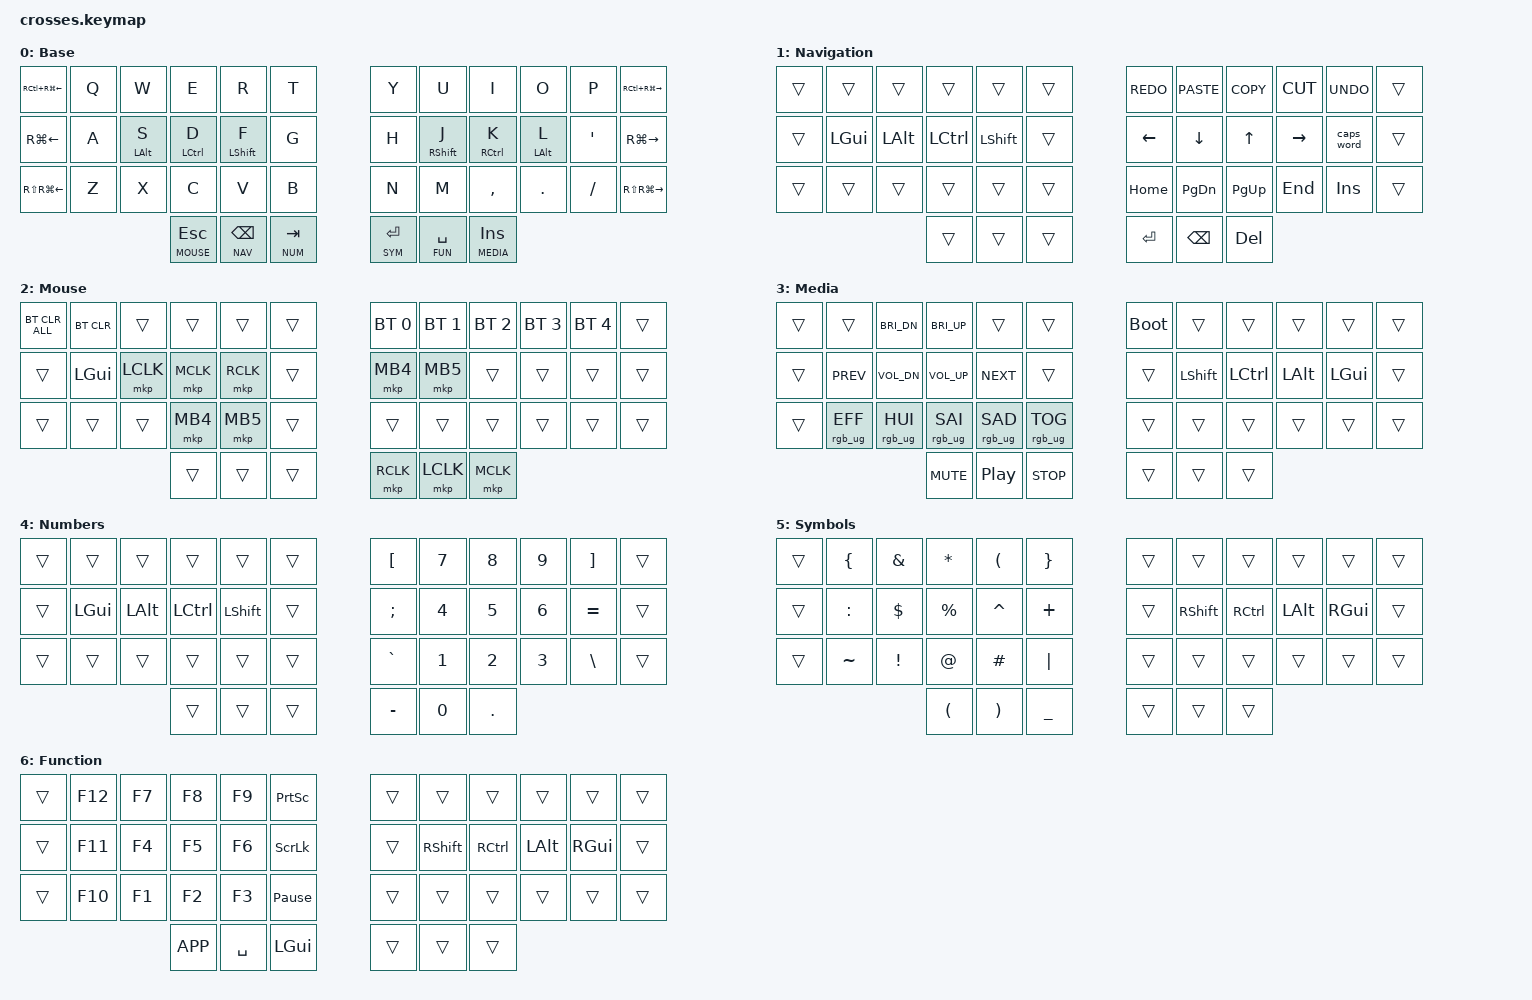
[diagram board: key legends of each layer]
#include <behaviors.dtsi>
#include <dt-bindings/zmk/bt.h>
#include <dt-bindings/zmk/keys.h>
#include <dt-bindings/zmk/pointing.h>
#include <dt-bindings/zmk/rgb.h>

#define BASE 0
#define NAV 1
#define MOUSE 2
#define MEDIA 3
#define NUM 4
#define SYM 5
#define FUN 6

&mt {
    tapping-term-ms = <200>;
    flavor = "tap-preferred";
    quick-tap-ms = <150>;
};

&lt {
    tapping-term-ms = <200>;
    flavor = "balanced";
    quick-tap-ms = <150>;
};

/ {
    behaviors {
        caps_word: caps_word {
            compatible = "zmk,behavior-caps-word";
            #binding-cells = <0>;
            continue-list = <UNDERSCORE MINUS BACKSPACE DELETE>;
        };
    };

    keymap {
        compatible = "zmk,keymap";

        base_layer {
            display-name = "Base";
            // ┌──────────┬──────────┬──────────┬──────────┬──────────┬──────────┐   ┌──────────┬──────────┬──────────┬──────────┬──────────┬──────────┐
            // │ Ctrl+Win←│    Q     │    W     │    E     │    R     │    T     │   │    Y     │    U     │    I     │    O     │    P     │Ctrl+Win→ │
            // ├──────────┼──────────┼──────────┼──────────┼──────────┼──────────┤   ├──────────┼──────────┼──────────┼──────────┼──────────┼──────────┤
            // │  Win+←   │    A     │  Alt/S   │  Ctrl/D  │  Shft/F  │    G     │   │    H     │  Shft/J  │  Ctrl/K  │  Alt/L   │    '     │  Win+→   │
            // ├──────────┼──────────┼──────────┼──────────┼──────────┼──────────┤   ├──────────┼──────────┼──────────┼──────────┼──────────┼──────────┤
            // │Shft+Win← │    Z     │    X     │    C     │    V     │    B     │   │    N     │    M     │    ,     │    .     │    /     │Shft+Win→ │
            // └──────────┴──────────┴──────────┼──────────┼──────────┼──────────┤   ├──────────┼──────────┼──────────┼──────────┴──────────┴──────────┘
            //                                  │Mouse/Esc │ Nav/Bspc │ Num/Tab  │   │ Sym/Ent  │ Fun/Spc  │Media/Ins │
            //                                  └──────────┴──────────┴──────────┘   └──────────┴──────────┴──────────┘
            bindings = <
&kp RC(RG(LEFT))  &kp Q       &kp W        &kp E        &kp R        &kp T            &kp Y        &kp U        &kp I        &kp O        &kp P          &kp RC(RG(RIGHT))
&kp RG(LEFT)      &kp A       &mt LALT S   &mt LCTRL D  &mt LSHFT F  &kp G            &kp H        &mt RSHFT J  &mt RCTRL K  &mt LALT L   &kp SQT        &kp RG(RIGHT)
&kp RS(RG(LEFT))  &kp Z       &kp X        &kp C        &kp V        &kp B            &kp N        &kp M        &kp COMMA    &kp DOT      &kp FSLH       &kp RS(RG(RIGHT))
                              &lt MOUSE ESC  &lt NAV BSPC  &lt NUM TAB              &lt SYM RET  &lt FUN SPACE  &lt MEDIA INS
            >;
        };

        nav_layer {
            display-name = "Navigation";
            bindings = <
&trans      &trans      &trans      &trans      &trans      &trans            &kp K_REDO   &kp K_PASTE  &kp K_COPY   &kp K_CUT    &kp K_UNDO   &trans
&trans      &kp LGUI   &kp LALT   &kp LCTRL  &kp LSHFT  &trans            &kp LEFT     &kp DOWN     &kp UP       &kp RIGHT    &caps_word   &trans
&trans      &trans      &trans      &trans      &trans      &trans            &kp HOME     &kp PG_DN    &kp PG_UP    &kp END      &kp INS      &trans
                                 &trans      &trans      &trans            &kp RET      &kp BSPC     &kp DEL
            >;
        };

        mouse_layer {
            display-name = "Mouse";
            bindings = <
&bt BT_CLR_ALL  &bt BT_CLR &trans       &trans      &trans      &trans            &bt BT_SEL 0 &bt BT_SEL 1 &bt BT_SEL 2 &bt BT_SEL 3 &bt BT_SEL 4 &trans
&trans      &kp LGUI   &mkp LCLK   &mkp MCLK  &mkp RCLK  &trans            &mkp MB4     &mkp MB5     &trans        &trans        &trans        &trans
&trans      &trans      &trans       &mkp MB4   &mkp MB5   &trans            &trans        &trans        &trans        &trans        &trans        &trans
                                  &trans      &trans      &trans            &mkp RCLK    &mkp LCLK    &mkp MCLK
            >;
        };

        media_layer {
            display-name = "Media";
            bindings = <
&trans      &trans          &kp C_BRI_DN  &kp C_BRI_UP  &trans          &trans              &bootloader  &trans        &trans        &trans        &trans        &trans
&trans      &kp C_PREV     &kp C_VOL_DN  &kp C_VOL_UP  &kp C_NEXT     &trans              &trans        &kp LSHFT    &kp LCTRL    &kp LALT     &kp LGUI     &trans
&trans      &rgb_ug RGB_EFF &rgb_ug RGB_HUI &rgb_ug RGB_SAI &rgb_ug RGB_SAD &rgb_ug RGB_TOG  &trans        &trans        &trans        &trans        &trans        &trans
                                 &kp C_MUTE    &kp C_PP      &kp C_STOP           &trans        &trans        &trans
            >;
        };

        num_layer {
            display-name = "Numbers";
            bindings = <
&trans      &trans      &trans      &trans      &trans      &trans            &kp LBKT     &kp N7       &kp N8       &kp N9       &kp RBKT     &trans
&trans      &kp LGUI   &kp LALT   &kp LCTRL  &kp LSHFT  &trans            &kp SEMI     &kp N4       &kp N5       &kp N6       &kp EQUAL    &trans
&trans      &trans      &trans      &trans      &trans      &trans            &kp GRAVE    &kp N1       &kp N2       &kp N3       &kp BSLH     &trans
                                    &trans      &trans      &trans            &kp MINUS    &kp N0       &kp DOT
            >;
        };

        sym_layer {
            display-name = "Symbols";
            bindings = <
&trans      &kp LBRC   &kp AMPS   &kp ASTRK  &kp LPAR   &kp RBRC         &trans        &trans        &trans        &trans        &trans        &trans
&trans      &kp COLON  &kp DLLR   &kp PRCNT  &kp CARET  &kp PLUS         &trans        &kp RSHFT    &kp RCTRL    &kp LALT     &kp RGUI     &trans
&trans      &kp TILDE  &kp EXCL   &kp AT     &kp HASH   &kp PIPE         &trans        &trans        &trans        &trans        &trans        &trans
                                  &kp LPAR   &kp RPAR   &kp UNDER        &trans        &trans        &trans
            >;
        };

        fun_layer {
            display-name = "Function";
            bindings = <
&trans      &kp F12    &kp F7     &kp F8     &kp F9     &kp PSCRN        &trans        &trans        &trans        &trans        &trans        &trans
&trans      &kp F11    &kp F4     &kp F5     &kp F6     &kp SLCK         &trans        &kp RSHFT    &kp RCTRL    &kp LALT     &kp RGUI     &trans
&trans      &kp F10    &kp F1     &kp F2     &kp F3     &kp PAUSE_BREAK  &trans        &trans        &trans        &trans        &trans        &trans
                                  &kp K_APP  &kp SPACE  &kp LGUI         &trans        &trans        &trans
            >;
        };

    };
};
